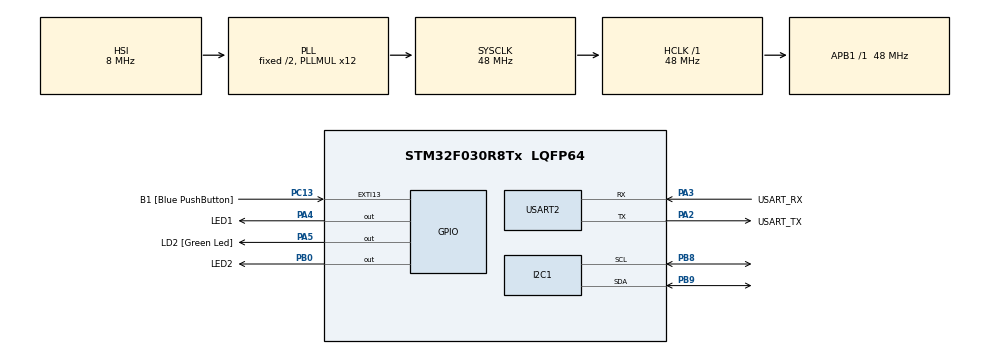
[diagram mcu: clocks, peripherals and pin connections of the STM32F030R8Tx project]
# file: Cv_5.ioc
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Dma.Request0=USART2_RX
Dma.USART2_RX.0.Direction=DMA_PERIPH_TO_MEMORY
Dma.USART2_RX.0.Instance=DMA1_Channel5
Dma.USART2_RX.0.MemDataAlignment=DMA_MDATAALIGN_BYTE
Dma.USART2_RX.0.MemInc=DMA_MINC_ENABLE
Dma.USART2_RX.0.Mode=DMA_CIRCULAR
Dma.USART2_RX.0.PeriphDataAlignment=DMA_PDATAALIGN_BYTE
Dma.USART2_RX.0.PeriphInc=DMA_PINC_DISABLE
Dma.USART2_RX.0.Priority=DMA_PRIORITY_LOW
Mcu.Family=STM32F0
Mcu.Name=STM32F030R8Tx
Mcu.Package=LQFP64
NVIC.DMA1_Channel4_5_IRQn=true\:0\:0\:false\:false\:true\:false\:true\:true
PA13.GPIO_Label=TMS
PA13.Mode=Serial_Wire
PA13.Signal=SYS_SWDIO
PA14.GPIO_Label=TCK
PA14.Mode=Serial_Wire
PA14.Signal=SYS_SWCLK
PA2.GPIO_Label=USART_TX
PA2.GPIO_Mode=GPIO_MODE_AF_PP
PA2.GPIO_PuPd=GPIO_NOPULL
PA2.GPIO_Speed=GPIO_SPEED_FREQ_LOW
PA2.Mode=Asynchronous
PA2.Signal=USART2_TX
PA3.GPIO_Label=USART_RX
PA3.GPIO_Mode=GPIO_MODE_AF_PP
PA3.GPIO_PuPd=GPIO_NOPULL
PA3.GPIO_Speed=GPIO_SPEED_FREQ_LOW
PA3.Mode=Asynchronous
PA3.Signal=USART2_RX
PA4.GPIO_Label=LED1
PA4.Signal=GPIO_Output
PA5.GPIO_Label=LD2 [Green Led]
PA5.GPIO_Mode=GPIO_MODE_OUTPUT_PP
PA5.GPIO_PuPd=GPIO_NOPULL
PA5.GPIO_Speed=GPIO_SPEED_FREQ_LOW
PA5.Signal=GPIO_Output
PB0.GPIO_Label=LED2
PB0.Signal=GPIO_Output
PB8.Mode=I2C
PB8.Signal=I2C1_SCL
PB9.Mode=I2C
PB9.Signal=I2C1_SDA
PC13.GPIO_Label=B1 [Blue PushButton]
PC13.GPIO_ModeDefaultEXTI=GPIO_MODE_IT_FALLING
PC13.Signal=GPXTI13
PC14-OSC32_IN.Mode=LSE-External-Oscillator
PC14-OSC32_IN.Signal=RCC_OSC32_IN
PC15-OSC32_OUT.Mode=LSE-External-Oscillator
PC15-OSC32_OUT.Signal=RCC_OSC32_OUT
PF0-OSC_IN.Mode=HSE-External-Clock-Source
PF0-OSC_IN.Signal=RCC_OSC_IN
PF1-OSC_OUT.Signal=RCC_OSC_OUT
ProjectManager.HeapSize=0x200
ProjectManager.StackSize=0x400
ProjectManager.TargetToolchain=STM32CubeIDE
RCC.AHBFreq_Value=48000000
RCC.APB1Freq_Value=48000000
RCC.APB1TimFreq_Value=48000000
RCC.HCLKFreq_Value=48000000
RCC.PLLMUL=RCC_PLL_MUL12
RCC.SYSCLKFreq_VALUE=48000000
RCC.SYSCLKSource=RCC_SYSCLKSOURCE_PLLCLK
USART2.VirtualMode-Asynchronous=VM_ASYNC
board=NUCLEO-F030R8

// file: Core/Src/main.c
/* USER CODE BEGIN Header */
/**
  ******************************************************************************
  * @file           : main.c
  * @brief          : Main program body
  ******************************************************************************
  * @attention
  *
  * Copyright (c) 2022 STMicroelectronics.
  * All rights reserved.
  *
  * This software is licensed under terms that can be found in the LICENSE file
  * in the root directory of this software component.
  * If no LICENSE file comes with this software, it is provided AS-IS.
  *
  ******************************************************************************
  */
/* USER CODE END Header */
#include "main.h"

/* USER CODE BEGIN Includes */
#include <stdio.h>
#include <string.h>
#include <stdlib.h>
/* USER CODE END Includes */

/* USER CODE BEGIN PD */
#define RX_BUFFER_LEN 64
#define CMD_BUFFER_LEN 256
#define EEPROM_ADDR 0xA0
#define uart_rx_write_ptr (RX_BUFFER_LEN - hdma_usart2_rx.Instance->CNDTR)
/* USER CODE END PD */

I2C_HandleTypeDef hi2c1;

UART_HandleTypeDef huart2;
DMA_HandleTypeDef hdma_usart2_rx;

/* USER CODE BEGIN PV */
static uint8_t uart_rx_buf[RX_BUFFER_LEN];
static volatile uint16_t uart_rx_read_ptr = 0;
/* USER CODE END PV */

void SystemClock_Config(void);
static void MX_GPIO_Init(void);
static void MX_DMA_Init(void);
static void MX_USART2_UART_Init(void);
static void MX_I2C1_Init(void);

/* USER CODE BEGIN 0 */
int _write(int file, char const *buf, int n) {
	/* stdout redirection to UART2 */
	HAL_UART_Transmit(&huart2, (uint8_t*) (buf), n, HAL_MAX_DELAY);
	return n;
}

void uart_process_command(char *cmd) {

	char *token;
	token = strtok(cmd, " ");
	if (strcasecmp(token, "HELLO") == 0) {
		printf("Komunikace OK\n");

	} else if (strcasecmp(token, "LED1") == 0) {

		token = strtok(NULL, " ");
		if (strcasecmp(token, "ON") == 0) {

			HAL_GPIO_WritePin(GPIOA, LED1_Pin, 1);
		} else if (strcasecmp(token, "OFF") == 0) {
			HAL_GPIO_WritePin(GPIOA, LED1_Pin, 0);
		}
		printf("OK\n");
	} else if (strcasecmp(token, "LED2") == 0) {

		token = strtok(NULL, " ");
		if (strcasecmp(token, "ON") == 0) {

			HAL_GPIO_WritePin(GPIOB, LED2_Pin, 1);
		} else if (strcasecmp(token, "OFF") == 0) {
			HAL_GPIO_WritePin(GPIOB, LED2_Pin, 0);
		}
		printf("OK\n");
	} else if (strcasecmp(token, "STATUS") == 0) {
		if (HAL_GPIO_ReadPin(GPIOA, LED1_Pin) == 0) {
			printf("LED1 is OFF\n");
		} else {
			printf("LED1 is ON\n");
		}
		if (HAL_GPIO_ReadPin(GPIOB, LED2_Pin) == 0) {
			printf("LED2 is OFF\n");
		} else {
			printf("LED2 is ON\n");
		}

	} else if (strcasecmp(token, "READ") == 0) {
		token = strtok(NULL, " ");
		uint16_t addr = atoi(token);
		uint8_t value = 0;

		HAL_I2C_Mem_Read(&hi2c1, EEPROM_ADDR, addr, I2C_MEMADD_SIZE_16BIT,
				&value, 1, 1000);
		printf("Adresa 0x%04x = 0x%02X\n", addr, value);
	} else if (strcasecmp(token, "WRITE") == 0) {
		token = strtok(NULL, " ");
		uint16_t addr = atoi(token);
		token = strtok(NULL, " ");
		uint8_t value = atoi(token);
		HAL_I2C_Mem_Write(&hi2c1, EEPROM_ADDR, addr, I2C_MEMADD_SIZE_16BIT,
				&value, 1, 1000);
		while (HAL_I2C_IsDeviceReady(&hi2c1, EEPROM_ADDR, 300, 1000)
				== HAL_TIMEOUT) {
		}
		printf("OK\n");
	} else if (strcasecmp(token, "DUMP") == 0) {
		for (uint8_t i = 0; i < 16; i++) {
			uint8_t value = 0;
			HAL_I2C_Mem_Read(&hi2c1, EEPROM_ADDR, i, I2C_MEMADD_SIZE_16BIT,
					&value, 1, 1000);
			printf("%02X ", value);
			if ((i % 8) == 7)
				printf("\n");
		}
		printf("\n");
	}
}
void uart_byte_available(uint8_t c) {
	static uint16_t cnt;
	static char data[CMD_BUFFER_LEN];
	if (cnt < CMD_BUFFER_LEN && c >= ' ' && c <= '~')
		data[cnt++] = c;
	if ((c == '\n' || c == '\r') && cnt > 0) {
		data[cnt] = '\0';
		uart_process_command(data);
		cnt = 0;
	}

}
/* USER CODE END 0 */

int main(void) {

	/* MCU Configuration--------------------------------------------------------*/

	/* Reset of all peripherals, Initializes the Flash interface and the Systick. */
	HAL_Init();

	/* Configure the system clock */
	SystemClock_Config();

	/* Initialize all configured peripherals */
	MX_GPIO_Init();
	MX_DMA_Init();
	MX_USART2_UART_Init();
	MX_I2C1_Init();
	/* USER CODE BEGIN 2 */
	HAL_UART_Receive_DMA(&huart2, uart_rx_buf, RX_BUFFER_LEN);
	/* USER CODE END 2 */

	/* Infinite loop */
	/* USER CODE BEGIN WHILE */
	while (1) {
		while (uart_rx_read_ptr != uart_rx_write_ptr) {
			uint8_t b = uart_rx_buf[uart_rx_read_ptr];
			if (++uart_rx_read_ptr >= RX_BUFFER_LEN)
				uart_rx_read_ptr = 0; // increase read pointer
			uart_byte_available(b); // process every received byte with the RX state machine
		}
		/* USER CODE END WHILE */

	}
}

void SystemClock_Config(void)
{
  RCC_OscInitTypeDef RCC_OscInitStruct = {0};
  RCC_ClkInitTypeDef RCC_ClkInitStruct = {0};
  RCC_PeriphCLKInitTypeDef PeriphClkInit = {0};

  /** Initializes the RCC Oscillators according to the specified parameters
  * in the RCC_OscInitTypeDef structure.
  */
  RCC_OscInitStruct.OscillatorType = RCC_OSCILLATORTYPE_HSI;
  RCC_OscInitStruct.HSIState = RCC_HSI_ON;
  RCC_OscInitStruct.HSICalibrationValue = RCC_HSICALIBRATION_DEFAULT;
  RCC_OscInitStruct.PLL.PLLState = RCC_PLL_ON;
  RCC_OscInitStruct.PLL.PLLSource = RCC_PLLSOURCE_HSI;
  RCC_OscInitStruct.PLL.PLLMUL = RCC_PLL_MUL12;
  RCC_OscInitStruct.PLL.PREDIV = RCC_PREDIV_DIV1;
  if (HAL_RCC_OscConfig(&RCC_OscInitStruct) != HAL_OK)
  {
    Error_Handler();
  }

  /** Initializes the CPU, AHB and APB buses clocks
  */
  RCC_ClkInitStruct.ClockType = RCC_CLOCKTYPE_HCLK|RCC_CLOCKTYPE_SYSCLK
                              |RCC_CLOCKTYPE_PCLK1;
  RCC_ClkInitStruct.SYSCLKSource = RCC_SYSCLKSOURCE_PLLCLK;
  RCC_ClkInitStruct.AHBCLKDivider = RCC_SYSCLK_DIV1;
  RCC_ClkInitStruct.APB1CLKDivider = RCC_HCLK_DIV1;

  if (HAL_RCC_ClockConfig(&RCC_ClkInitStruct, FLASH_LATENCY_1) != HAL_OK)
  {
    Error_Handler();
  }
  PeriphClkInit.PeriphClockSelection = RCC_PERIPHCLK_I2C1;
  PeriphClkInit.I2c1ClockSelection = RCC_I2C1CLKSOURCE_HSI;
  if (HAL_RCCEx_PeriphCLKConfig(&PeriphClkInit) != HAL_OK)
  {
    Error_Handler();
  }
}

static void MX_I2C1_Init(void)
{

  hi2c1.Instance = I2C1;
  hi2c1.Init.Timing = 0x2000090E;
  hi2c1.Init.OwnAddress1 = 0;
  hi2c1.Init.AddressingMode = I2C_ADDRESSINGMODE_7BIT;
  hi2c1.Init.DualAddressMode = I2C_DUALADDRESS_DISABLE;
  hi2c1.Init.OwnAddress2 = 0;
  hi2c1.Init.OwnAddress2Masks = I2C_OA2_NOMASK;
  hi2c1.Init.GeneralCallMode = I2C_GENERALCALL_DISABLE;
  hi2c1.Init.NoStretchMode = I2C_NOSTRETCH_DISABLE;
  if (HAL_I2C_Init(&hi2c1) != HAL_OK)
  {
    Error_Handler();
  }

  /** Configure Analogue filter
  */
  if (HAL_I2CEx_ConfigAnalogFilter(&hi2c1, I2C_ANALOGFILTER_ENABLE) != HAL_OK)
  {
    Error_Handler();
  }

  /** Configure Digital filter
  */
  if (HAL_I2CEx_ConfigDigitalFilter(&hi2c1, 0) != HAL_OK)
  {
    Error_Handler();
  }

}

static void MX_USART2_UART_Init(void)
{

  huart2.Instance = USART2;
  huart2.Init.BaudRate = 38400;
  huart2.Init.WordLength = UART_WORDLENGTH_8B;
  huart2.Init.StopBits = UART_STOPBITS_1;
  huart2.Init.Parity = UART_PARITY_NONE;
  huart2.Init.Mode = UART_MODE_TX_RX;
  huart2.Init.HwFlowCtl = UART_HWCONTROL_NONE;
  huart2.Init.OverSampling = UART_OVERSAMPLING_16;
  huart2.Init.OneBitSampling = UART_ONE_BIT_SAMPLE_DISABLE;
  huart2.AdvancedInit.AdvFeatureInit = UART_ADVFEATURE_NO_INIT;
  if (HAL_UART_Init(&huart2) != HAL_OK)
  {
    Error_Handler();
  }

}

static void MX_DMA_Init(void)
{

  /* DMA controller clock enable */
  __HAL_RCC_DMA1_CLK_ENABLE();

  /* DMA interrupt init */
  /* DMA1_Channel4_5_IRQn interrupt configuration */
  HAL_NVIC_SetPriority(DMA1_Channel4_5_IRQn, 0, 0);
  HAL_NVIC_EnableIRQ(DMA1_Channel4_5_IRQn);

}

static void MX_GPIO_Init(void)
{
  GPIO_InitTypeDef GPIO_InitStruct = {0};

  /* GPIO Ports Clock Enable */
  __HAL_RCC_GPIOC_CLK_ENABLE();
  __HAL_RCC_GPIOF_CLK_ENABLE();
  __HAL_RCC_GPIOA_CLK_ENABLE();
  __HAL_RCC_GPIOB_CLK_ENABLE();

  /*Configure GPIO pin Output Level */
  HAL_GPIO_WritePin(GPIOA, GPIO_PIN_4|GPIO_PIN_5, GPIO_PIN_RESET);

  /*Configure GPIO pin Output Level */
  HAL_GPIO_WritePin(GPIOB, GPIO_PIN_0, GPIO_PIN_RESET);

  /*Configure GPIO pin : PC13 */
  GPIO_InitStruct.Pin = GPIO_PIN_13;
  GPIO_InitStruct.Mode = GPIO_MODE_IT_FALLING;
  GPIO_InitStruct.Pull = GPIO_NOPULL;
  HAL_GPIO_Init(GPIOC, &GPIO_InitStruct);

  /*Configure GPIO pins : PA4 PA5 */
  GPIO_InitStruct.Pin = GPIO_PIN_4|GPIO_PIN_5;
  GPIO_InitStruct.Mode = GPIO_MODE_OUTPUT_PP;
  GPIO_InitStruct.Pull = GPIO_NOPULL;
  GPIO_InitStruct.Speed = GPIO_SPEED_FREQ_LOW;
  HAL_GPIO_Init(GPIOA, &GPIO_InitStruct);

  /*Configure GPIO pin : PB0 */
  GPIO_InitStruct.Pin = GPIO_PIN_0;
  GPIO_InitStruct.Mode = GPIO_MODE_OUTPUT_PP;
  GPIO_InitStruct.Pull = GPIO_NOPULL;
  GPIO_InitStruct.Speed = GPIO_SPEED_FREQ_LOW;
  HAL_GPIO_Init(GPIOB, &GPIO_InitStruct);

}

void Error_Handler(void)
{
  __disable_irq();
  while (1)
  {
  }
}
